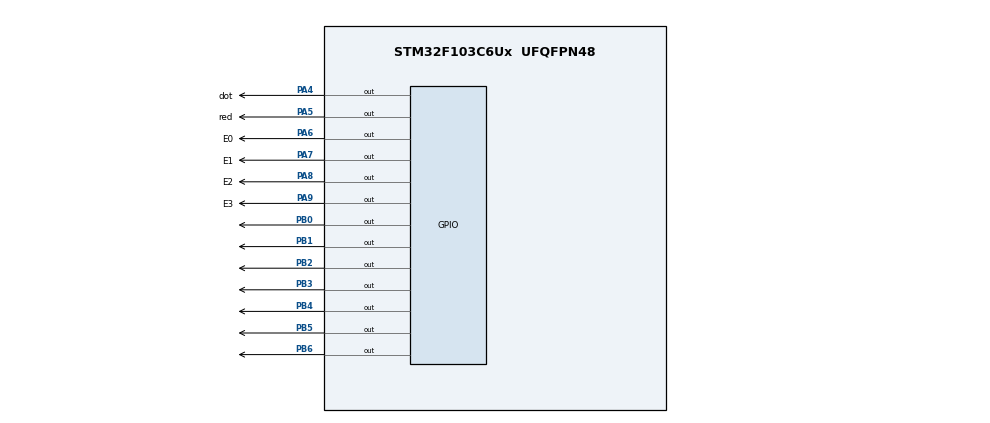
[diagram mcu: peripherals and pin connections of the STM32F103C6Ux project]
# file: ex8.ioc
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Mcu.Family=STM32F1
Mcu.Name=STM32F103C6Ux
Mcu.Package=UFQFPN48
NVIC.PriorityGroup=NVIC_PRIORITYGROUP_4
NVIC.TIM2_IRQn=true\:0\:0\:false\:false\:true\:true\:true
PA4.GPIO_Label=dot
PA4.Signal=GPIO_Output
PA5.GPIO_Label=red
PA5.Signal=GPIO_Output
PA6.GPIO_Label=E0
PA6.Signal=GPIO_Output
PA7.GPIO_Label=E1
PA7.Signal=GPIO_Output
PA8.GPIO_Label=E2
PA8.Signal=GPIO_Output
PA9.GPIO_Label=E3
PA9.Signal=GPIO_Output
PB0.Signal=GPIO_Output
PB1.Signal=GPIO_Output
PB2.Signal=GPIO_Output
PB3.Signal=GPIO_Output
PB4.Signal=GPIO_Output
PB5.Signal=GPIO_Output
PB6.Signal=GPIO_Output
ProjectManager.HeapSize=0x200
ProjectManager.StackSize=0x400
ProjectManager.TargetToolchain=STM32CubeIDE
RCC.APB1Freq_Value=8000000
RCC.APB2Freq_Value=8000000
TIM2.Period=9
TIM2.Prescaler=7999
VP_SYS_VS_ND.Mode=No_Debug
VP_TIM2_VS_ClockSourceINT.Mode=Internal
board=custom

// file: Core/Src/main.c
/* USER CODE BEGIN Header */
/**
  ******************************************************************************
  * @file           : main.c
  * @brief          : Main program body
  ******************************************************************************
  * @attention
  *
  * <h2><center>&copy; Copyright (c) 2023 STMicroelectronics.
  * All rights reserved.</center></h2>
  *
  * This software component is licensed by ST under BSD 3-Clause license,
  * the "License"; You may not use this file except in compliance with the
  * License. You may obtain a copy of the License at:
  *                        opensource.org/licenses/BSD-3-Clause
  *
  ******************************************************************************
  */
/* USER CODE END Header */
#include "main.h"

TIM_HandleTypeDef htim2;

void SystemClock_Config(void);
static void MX_GPIO_Init(void);
static void MX_TIM2_Init(void);

/* USER CODE BEGIN 0 */
int timer0_counter = 0;
int timer0_flag = 0;
int TIMER_CYCLE = 10;

int hour = 23 , minute = 9 , second = 55;
const int MAX_LED = 4;
int index_led = 0; // state
int led_buffer[4];
/* USER CODE END 0 */

int main(void)
{

  /* MCU Configuration--------------------------------------------------------*/

  /* Reset of all peripherals, Initializes the Flash interface and the Systick. */
  HAL_Init();

  /* Configure the system clock */
  SystemClock_Config();

  /* Initialize all configured peripherals */
  MX_GPIO_Init();
  MX_TIM2_Init();
  /* USER CODE BEGIN 2 */
  HAL_TIM_Base_Start_IT(&htim2);
  /* USER CODE END 2 */

  /* Infinite loop */
  /* USER CODE BEGIN WHILE */
  setTimer0(10);
  while (1)
  {
	  updateClockBuffer();
	  if(timer0_flag == 1) {
		HAL_GPIO_TogglePin(red_GPIO_Port, red_Pin);
		HAL_GPIO_TogglePin(dot_GPIO_Port, dot_Pin);
		if(index_led == 0) {
			HAL_GPIO_WritePin(E0_GPIO_Port, E0_Pin, RESET);
			HAL_GPIO_WritePin(E1_GPIO_Port, E1_Pin, SET);
			HAL_GPIO_WritePin(E2_GPIO_Port, E2_Pin, SET);
			HAL_GPIO_WritePin(E3_GPIO_Port, E3_Pin, SET);
			update7SEG(index_led);
		}
		else if(index_led == 1) {
			HAL_GPIO_WritePin(E0_GPIO_Port, E0_Pin, SET);
			HAL_GPIO_WritePin(E1_GPIO_Port, E1_Pin, RESET);
			HAL_GPIO_WritePin(E2_GPIO_Port, E2_Pin, SET);
			HAL_GPIO_WritePin(E3_GPIO_Port, E3_Pin, SET);
			update7SEG(index_led);
		}
		else if(index_led == 2) {
			HAL_GPIO_WritePin(E0_GPIO_Port, E0_Pin, SET);
			HAL_GPIO_WritePin(E1_GPIO_Port, E1_Pin, SET);
			HAL_GPIO_WritePin(E2_GPIO_Port, E2_Pin, RESET);
			HAL_GPIO_WritePin(E3_GPIO_Port, E3_Pin, SET);
			update7SEG(index_led);
		}
		else {
			HAL_GPIO_WritePin(E0_GPIO_Port, E0_Pin, SET);
			HAL_GPIO_WritePin(E1_GPIO_Port, E1_Pin, SET);
			HAL_GPIO_WritePin(E2_GPIO_Port, E2_Pin, SET);
			HAL_GPIO_WritePin(E3_GPIO_Port, E3_Pin, RESET);
			update7SEG(index_led);
		}
		second++;
		if (second >= 60) {
				  second = 0;
				  minute ++;
			  }
		if( minute >= 60) {
			      minute = 0;
			      hour ++;
			  }
		if( hour >=24) {
			  	  hour = 0;
			  }
		index_led = (index_led + 1) % MAX_LED;
		setTimer0(1000);
	  }
    /* USER CODE END WHILE */

  }
}

void SystemClock_Config(void)
{
  RCC_OscInitTypeDef RCC_OscInitStruct = {0};
  RCC_ClkInitTypeDef RCC_ClkInitStruct = {0};

  /** Initializes the RCC Oscillators according to the specified parameters
  * in the RCC_OscInitTypeDef structure.
  */
  RCC_OscInitStruct.OscillatorType = RCC_OSCILLATORTYPE_HSI;
  RCC_OscInitStruct.HSIState = RCC_HSI_ON;
  RCC_OscInitStruct.HSICalibrationValue = RCC_HSICALIBRATION_DEFAULT;
  RCC_OscInitStruct.PLL.PLLState = RCC_PLL_NONE;
  if (HAL_RCC_OscConfig(&RCC_OscInitStruct) != HAL_OK)
  {
    Error_Handler();
  }
  /** Initializes the CPU, AHB and APB buses clocks
  */
  RCC_ClkInitStruct.ClockType = RCC_CLOCKTYPE_HCLK|RCC_CLOCKTYPE_SYSCLK
                              |RCC_CLOCKTYPE_PCLK1|RCC_CLOCKTYPE_PCLK2;
  RCC_ClkInitStruct.SYSCLKSource = RCC_SYSCLKSOURCE_HSI;
  RCC_ClkInitStruct.AHBCLKDivider = RCC_SYSCLK_DIV1;
  RCC_ClkInitStruct.APB1CLKDivider = RCC_HCLK_DIV1;
  RCC_ClkInitStruct.APB2CLKDivider = RCC_HCLK_DIV1;

  if (HAL_RCC_ClockConfig(&RCC_ClkInitStruct, FLASH_LATENCY_0) != HAL_OK)
  {
    Error_Handler();
  }
}

static void MX_TIM2_Init(void)
{

  TIM_ClockConfigTypeDef sClockSourceConfig = {0};
  TIM_MasterConfigTypeDef sMasterConfig = {0};

  htim2.Instance = TIM2;
  htim2.Init.Prescaler = 7999;
  htim2.Init.CounterMode = TIM_COUNTERMODE_UP;
  htim2.Init.Period = 9;
  htim2.Init.ClockDivision = TIM_CLOCKDIVISION_DIV1;
  htim2.Init.AutoReloadPreload = TIM_AUTORELOAD_PRELOAD_DISABLE;
  if (HAL_TIM_Base_Init(&htim2) != HAL_OK)
  {
    Error_Handler();
  }
  sClockSourceConfig.ClockSource = TIM_CLOCKSOURCE_INTERNAL;
  if (HAL_TIM_ConfigClockSource(&htim2, &sClockSourceConfig) != HAL_OK)
  {
    Error_Handler();
  }
  sMasterConfig.MasterOutputTrigger = TIM_TRGO_RESET;
  sMasterConfig.MasterSlaveMode = TIM_MASTERSLAVEMODE_DISABLE;
  if (HAL_TIMEx_MasterConfigSynchronization(&htim2, &sMasterConfig) != HAL_OK)
  {
    Error_Handler();
  }

}

static void MX_GPIO_Init(void)
{
  GPIO_InitTypeDef GPIO_InitStruct = {0};

  /* GPIO Ports Clock Enable */
  __HAL_RCC_GPIOA_CLK_ENABLE();
  __HAL_RCC_GPIOB_CLK_ENABLE();

  /*Configure GPIO pin Output Level */
  HAL_GPIO_WritePin(GPIOA, dot_Pin|red_Pin|E0_Pin|E1_Pin
                          |E2_Pin|E3_Pin, GPIO_PIN_RESET);

  /*Configure GPIO pin Output Level */
  HAL_GPIO_WritePin(GPIOB, GPIO_PIN_0|GPIO_PIN_1|GPIO_PIN_2|GPIO_PIN_3
                          |GPIO_PIN_4|GPIO_PIN_5|GPIO_PIN_6, GPIO_PIN_RESET);

  /*Configure GPIO pins : dot_Pin red_Pin E0_Pin E1_Pin
                           E2_Pin E3_Pin */
  GPIO_InitStruct.Pin = dot_Pin|red_Pin|E0_Pin|E1_Pin
                          |E2_Pin|E3_Pin;
  GPIO_InitStruct.Mode = GPIO_MODE_OUTPUT_PP;
  GPIO_InitStruct.Pull = GPIO_NOPULL;
  GPIO_InitStruct.Speed = GPIO_SPEED_FREQ_LOW;
  HAL_GPIO_Init(GPIOA, &GPIO_InitStruct);

  /*Configure GPIO pins : PB0 PB1 PB2 PB3
                           PB4 PB5 PB6 */
  GPIO_InitStruct.Pin = GPIO_PIN_0|GPIO_PIN_1|GPIO_PIN_2|GPIO_PIN_3
                          |GPIO_PIN_4|GPIO_PIN_5|GPIO_PIN_6;
  GPIO_InitStruct.Mode = GPIO_MODE_OUTPUT_PP;
  GPIO_InitStruct.Pull = GPIO_NOPULL;
  GPIO_InitStruct.Speed = GPIO_SPEED_FREQ_LOW;
  HAL_GPIO_Init(GPIOB, &GPIO_InitStruct);

}

/* USER CODE BEGIN 4 */
void setTimer0 (int duration) {
 	timer0_counter = duration / TIMER_CYCLE ;
	timer0_flag = 0;
}

void timer_run () {
	if( timer0_counter > 0) {
		timer0_counter--;
		if( timer0_counter == 0) timer0_flag = 1;
	}
}

void HAL_TIM_PeriodElapsedCallback ( TIM_HandleTypeDef * htim )
{
	timer_run();
}

void display7SEG(int num)
{
    const int segments[10] = {
        0b00111111, // 0
        0b00000110, // 1
        0b01011011, // 2
        0b01001111, // 3
        0b01100110, // 4
        0b01101101, // 5
        0b01111101, // 6
        0b00000111, // 7
        0b01111111, // 8
        0b01101111  // 9
    };

    uint8_t displaySegments = segments[num];

    HAL_GPIO_WritePin(GPIOB, GPIO_PIN_0, (displaySegments & 0x01) ? GPIO_PIN_RESET : GPIO_PIN_SET);
    HAL_GPIO_WritePin(GPIOB, GPIO_PIN_1, ((displaySegments >> 1) & 0x01) ? GPIO_PIN_RESET : GPIO_PIN_SET);
    HAL_GPIO_WritePin(GPIOB, GPIO_PIN_2, ((displaySegments >> 2) & 0x01) ? GPIO_PIN_RESET : GPIO_PIN_SET);
    HAL_GPIO_WritePin(GPIOB, GPIO_PIN_3, ((displaySegments >> 3) & 0x01) ? GPIO_PIN_RESET : GPIO_PIN_SET);
    HAL_GPIO_WritePin(GPIOB, GPIO_PIN_4, ((displaySegments >> 4) & 0x01) ? GPIO_PIN_RESET : GPIO_PIN_SET);
    HAL_GPIO_WritePin(GPIOB, GPIO_PIN_5, ((displaySegments >> 5) & 0x01) ? GPIO_PIN_RESET : GPIO_PIN_SET);
    HAL_GPIO_WritePin(GPIOB, GPIO_PIN_6, ((displaySegments >> 6) & 0x01) ? GPIO_PIN_RESET : GPIO_PIN_SET);
}

void update7SEG(index_led){
	display7SEG(led_buffer[index_led]);
}

void updateClockBuffer() {
    int hour0 = hour / 10;
    int hour1 = hour % 10;
    int minute0 = minute / 10;
    int minute1 = minute % 10;

    led_buffer[0] = hour0;
    led_buffer[1] = hour1;
    led_buffer[2] = minute0;
    led_buffer[3] = minute1;
}
/* USER CODE END 4 */

void Error_Handler(void)
{
  __disable_irq();
  while (1)
  {
  }
}

/************************ (C) COPYRIGHT STMicroelectronics *****END OF FILE****/
